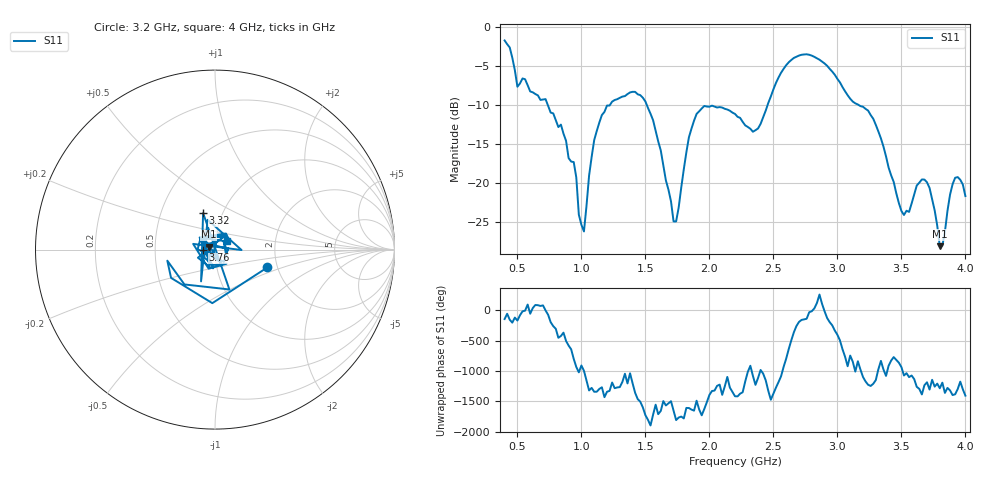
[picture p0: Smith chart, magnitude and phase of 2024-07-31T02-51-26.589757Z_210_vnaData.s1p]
!Created with skrf (http://scikit-rf.org).
# Hz S RI R 50.0
!freq ReS11 ImS11
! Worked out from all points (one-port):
!   181 points, 400 MHz to 4 GHz, reference 50 ohm
!   lowest |S11| = -28.1 dB at 3.8 GHz (marker M1), VSWR 1.08, Z = 46.5 + j1.55 ohm
!   |S11| at or under -10 dB: 737.4 MHz to 1.223 GHz (485.4 MHz wide, 49.5 % of centre); 1.511 GHz to 2.455 GHz (943.8 MHz wide, 47.6 % of centre); 3.166 GHz to end of sweep
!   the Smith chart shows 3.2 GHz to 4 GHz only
!   S11 on the Smith chart (normalised r, x): 3.2 GHz: 1.77, -0.39; 3.32 GHz: 0.81, +0.35; 3.76 GHz: 0.87, -0.00; 4 GHz: 1.14, +0.10
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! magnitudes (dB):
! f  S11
! 400 MHz  -1.7
! 500 MHz  -7.7
! 860 MHz  -13.7
! 940 MHz  -17.3
! 980 MHz  -24.1
! 1.02 GHz  -26.2
! 1.1 GHz  -14.5
! 1.3 GHz  -9.1
! 1.5 GHz  -9.5
! 1.62 GHz  -15.8
! 1.72 GHz  -24.9
! 1.76 GHz  -23.1
! 1.84 GHz  -14.1
! 1.9 GHz  -11.1
! 2.2 GHz  -11.1
! 2.38 GHz  -13.0
! 2.66 GHz  -4.0
! 2.86 GHz  -4.2
! 3.1 GHz  -9.2
! 3.2 GHz  -10.2
! 3.32 GHz  -13.4
! 3.5 GHz  -23.6
! 3.56 GHz  -23.7
! 3.66 GHz  -19.5
! 3.76 GHz  -23.5
! 3.8 GHz  -28.1
! 3.92 GHz  -19.3
! 4 GHz  -21.7
